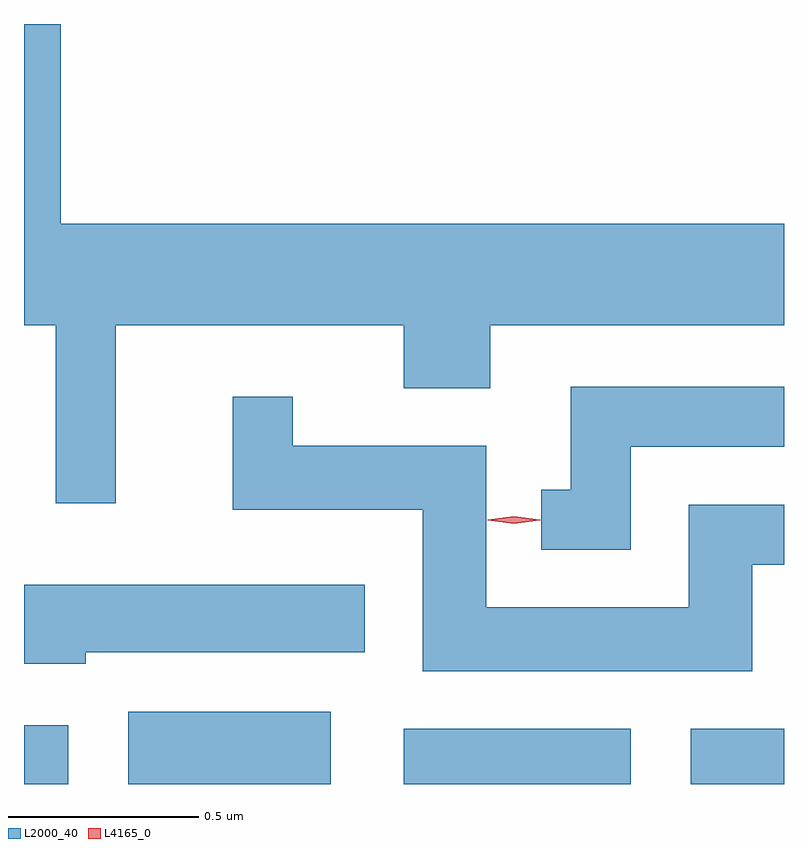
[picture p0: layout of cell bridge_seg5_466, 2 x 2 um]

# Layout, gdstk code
import gdstk
lib = gdstk.Library(unit=1e-6, precision=1e-09)
def R(c, l, rs):  # rectangles x0, y0, x1, y1
    for r in rs: c.add(gdstk.rectangle(r[:2], r[2:], *l))
def P(c, l, *ps):  # polygons
    for p in ps: c.add(gdstk.Polygon(p, *l))
L2000_40 = (2000, 40)
L4165_0 = (4165, 0)

bridge_seg5_466 = lib.new_cell('bridge_seg5_466')
R(bridge_seg5_466, L2000_40, [(391.112,1513.309,391.229,1513.464), (391.386,1513.309,391.919,1513.499), (392.111,1513.309,392.709,1513.454), (392.866,1513.309,393.112,1513.454)])
P(bridge_seg5_466, L2000_40, [(391.354,1514.516),(392.111,1514.516),(392.111,1514.351),(392.339,1514.351),(392.339,1514.516),(393.112,1514.516),(393.112,1514.784),(391.209,1514.784),(391.209,1515.309),(391.112,1515.309),(391.112,1514.516),(391.196,1514.516),(391.196,1514.048),(391.354,1514.048)],
  [(392.709,1514.196),(393.112,1514.196),(393.112,1514.354),(392.551,1514.354),(392.551,1514.084),(392.473,1514.084),(392.473,1513.926),(392.709,1513.926)],
  [(393.029,1513.886),(393.112,1513.886),(393.112,1514.044),(392.861,1514.044),(392.861,1513.774),(392.329,1513.774),(392.329,1514.199),(391.819,1514.199),(391.819,1514.328),(391.661,1514.328),(391.661,1514.031),(392.161,1514.031),(392.161,1513.606),(393.029,1513.606)],
  [(391.274,1513.656),(392.009,1513.656),(392.009,1513.834),(391.112,1513.834),(391.112,1513.626),(391.274,1513.626)])
P(bridge_seg5_466, L4165_0, [(392.401,1513.994),(392.332,1514.003),(392.332,1514.003),(392.332,1514.004),(392.401,1514.013),(392.471,1514.004),(392.471,1514.004),(392.471,1514.003)])

lib.write_gds('bridge_seg5_466.gds')
